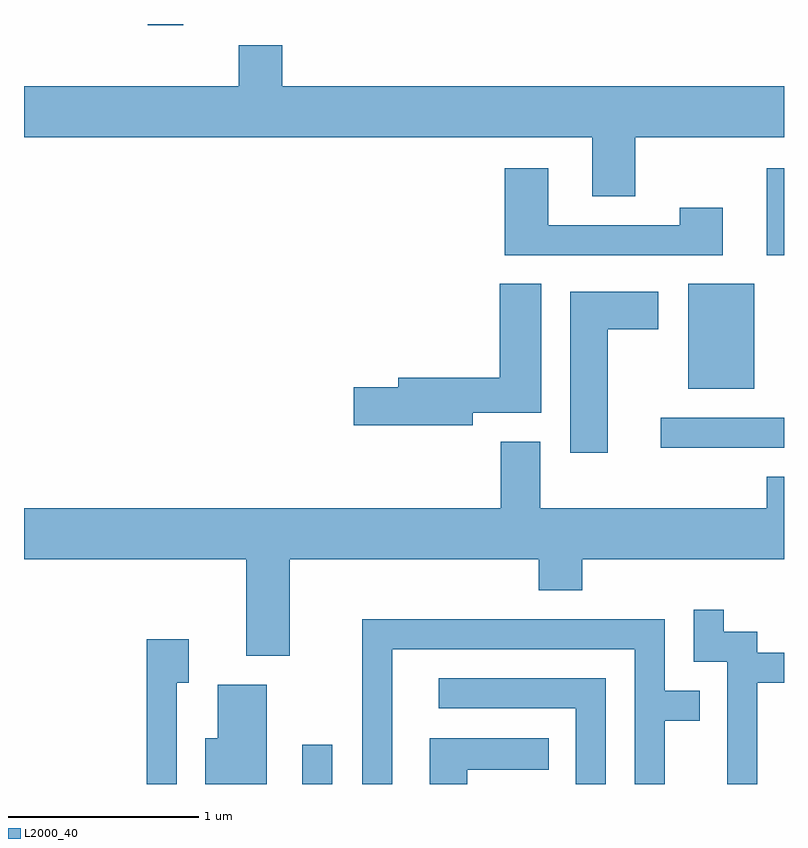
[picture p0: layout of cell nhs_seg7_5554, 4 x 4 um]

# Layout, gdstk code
import gdstk
lib = gdstk.Library(unit=1e-6, precision=1e-09)
def R(c, l, rs):  # rectangles x0, y0, x1, y1
    for r in rs: c.add(gdstk.rectangle(r[:2], r[2:], *l))
def P(c, l, *ps):  # polygons
    for p in ps: c.add(gdstk.Polygon(p, *l))
L2000_40 = (2000, 40)

nhs_seg7_5554 = lib.new_cell('nhs_seg7_5554')
R(nhs_seg7_5554, L2000_40, [(357.076,1704.252,357.234,1704.458), (358.963,1706.021,359.611,1706.179), (359.106,1706.331,359.454,1706.884), (359.521,1707.036,359.611,1707.494), (356.261,1708.246,356.449,1708.252)])
P(nhs_seg7_5554, L2000_40, [(358.829,1707.656),(359.611,1707.656),(359.611,1707.924),(356.969,1707.924),(356.969,1708.139),(356.741,1708.139),(356.741,1707.924),(355.611,1707.924),(355.611,1707.656),(358.601,1707.656),(358.601,1707.346),(358.829,1707.346)],
  [(359.289,1707.284),(359.061,1707.284),(359.061,1707.194),(358.369,1707.194),(358.369,1707.494),(358.141,1707.494),(358.141,1707.036),(359.289,1707.036)],
  [(357.974,1706.206),(358.334,1706.206),(358.334,1706.884),(358.116,1706.884),(358.116,1706.389),(357.581,1706.389),(357.581,1706.339),(357.346,1706.339),(357.346,1706.141),(357.974,1706.141)],
  [(358.684,1706.646),(358.949,1706.646),(358.949,1706.844),(358.486,1706.844),(358.486,1705.996),(358.684,1705.996)],
  [(357.009,1705.436),(358.321,1705.436),(358.321,1705.271),(358.549,1705.271),(358.549,1705.436),(359.611,1705.436),(359.611,1705.869),(359.521,1705.869),(359.521,1705.704),(358.329,1705.704),(358.329,1706.054),(358.121,1706.054),(358.121,1705.704),(355.611,1705.704),(355.611,1705.436),(356.781,1705.436),(356.781,1704.926),(357.009,1704.926)],
  [(359.469,1704.786),(359.611,1704.786),(359.611,1704.944),(359.469,1704.944),(359.469,1705.054),(359.294,1705.054),(359.294,1705.168),(359.136,1705.168),(359.136,1704.896),(359.311,1704.896),(359.311,1704.252),(359.469,1704.252)],
  [(357.549,1704.961),(358.826,1704.961),(358.826,1704.252),(358.984,1704.252),(358.984,1704.586),(359.168,1704.586),(359.168,1704.744),(358.984,1704.744),(358.984,1705.119),(357.391,1705.119),(357.391,1704.252),(357.549,1704.252)],
  [(356.414,1704.786),(356.479,1704.786),(356.479,1705.014),(356.256,1705.014),(356.256,1704.252),(356.414,1704.252)],
  [(358.674,1704.809),(357.793,1704.809),(357.793,1704.651),(358.516,1704.651),(358.516,1704.252),(358.674,1704.252)],
  [(356.889,1704.774),(356.631,1704.774),(356.631,1704.494),(356.566,1704.494),(356.566,1704.252),(356.889,1704.252)],
  [(357.944,1704.326),(358.373,1704.326),(358.373,1704.494),(357.746,1704.494),(357.746,1704.252),(357.944,1704.252)])

lib.write_gds('nhs_seg7_5554.gds')
